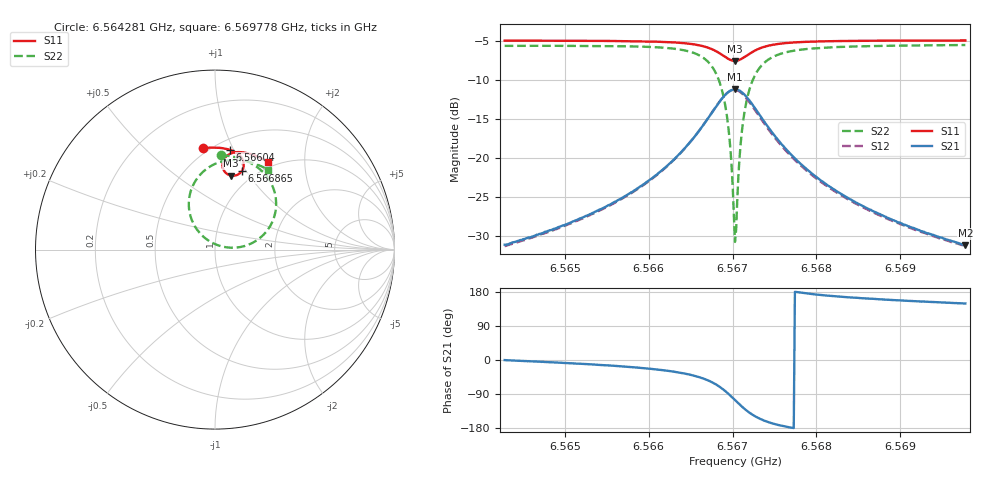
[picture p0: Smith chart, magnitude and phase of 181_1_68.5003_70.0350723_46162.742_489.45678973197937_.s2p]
#  HZ  S  RI  R  50.00
! Rohde & Schwarz Vector Network Analyzer
! Rohde-Schwarz,ZNB20-2Port,1311601062101988,3.16
! Created: UTC 3/20/2024, 4:56:42 PM
! freq[Hz]  re:S11  im:S11  re:S21  im:S21  re:S12  im:S12  re:S22  im:S22
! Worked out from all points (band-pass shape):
!   401 points, 6.564281 GHz to 6.569778 GHz, reference 50 ohm
!   highest |S21| = -11.15 dB at 6.56703 GHz (marker M1); lowest = -31.2 dB at 6.569778 GHz (marker M2)
!   |S21| within 3 dB of the highest: 6.566754 GHz to 6.567305 GHz (550.5 kHz wide, 0.00838 % of centre)
!   lowest |S11| = -7.5 dB at 6.56703 GHz (marker M3), VSWR 2.46, Z = 41 + j41.2 ohm
!   |S11| at or under -10 dB: nowhere
!   |S22| runs from -30.8 to -5.5 dB; largest |S21 - S12| = 0.013
!   S11 on the Smith chart (normalised r, x): 6.564281 GHz: 0.46, +0.77; 6.56604 GHz: 0.60, +0.97; 6.566865 GHz: 0.86, +0.96; 6.569778 GHz: 0.91, +1.33
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6.5642813e9  -0.0683 0.565  0.0279 -8.67e-05  0.0272 -0.000578  0.0322 0.5261
6.565202e9  0.00703 0.568  0.0407 -0.0073  0.0401 -0.00786  0.119 0.5134
6.5660402e9  0.0846 0.5553  0.0681 -0.0299  0.0672 -0.0306  0.2267 0.4659
6.5661227e9  0.0934 0.5522  0.0727 -0.0349  0.0716 -0.0358  0.2405 0.4556
6.566425e9  0.128 0.5333  0.0936 -0.067  0.0921 -0.0683  0.2993 0.3922
6.5666311e9  0.152 0.5051  0.1069 -0.1162  0.1046 -0.1183  0.3372 0.2973
6.5667685e9  0.16 0.4714  0.0998 -0.1748  0.0954 -0.1782  0.3307 0.185
6.5668647e9  0.1515 0.4404  0.0672 -0.2283  0.0597 -0.2312  0.2724 0.085
6.5669472e9  0.1261 0.4173  0.00714 -0.2654  -0.00373 -0.2654  0.1622 0.0192
6.5669747e9  0.114 0.4129  -0.0189 -0.2712  -0.0307 -0.2694  0.1146 0.0109
6.5670159e9  0.0944 0.4117  -0.0611 -0.2698  -0.0728 -0.265  0.0397 0.0171
6.5670296e9  0.0877 0.4127  -0.0749 -0.2668  -0.0864 -0.2609  0.0156 0.0244
6.5670434e9  0.0814 0.4145  -0.0886 -0.2623  -0.0995 -0.2554  -0.00766 0.0341
6.5670571e9  0.0752 0.417  -0.1015 -0.2564  -0.112 -0.2486  -0.0298 0.0462
6.5670983e9  0.0592 0.4283  -0.1351 -0.2324  -0.1436 -0.2223  -0.0851 0.0928
6.5671396e9  0.0482 0.4433  -0.1594 -0.202  -0.1649 -0.191  -0.1224 0.1491
6.5671945e9  0.0418 0.4646  -0.1763 -0.1598  -0.1782 -0.1487  -0.1443 0.2253
6.5672632e9  0.0438 0.4885  -0.1788 -0.1129  -0.1779 -0.1035  -0.1401 0.3068
6.5675106e9  0.082 0.5326  -0.1356 -0.0252  -0.1324 -0.0211  -0.0421 0.4533
6.5679503e9  0.1427 0.5429  -0.079 0.00829  -0.0771 0.00953  0.0875 0.4992
6.568871e9  0.2278 0.5219  -0.0382 0.0148  -0.0374 0.0151  0.2174 0.481
6.569778e9  0.2946 0.4892  -0.0237 0.0141  -0.0232 0.0143  0.2963 0.444
